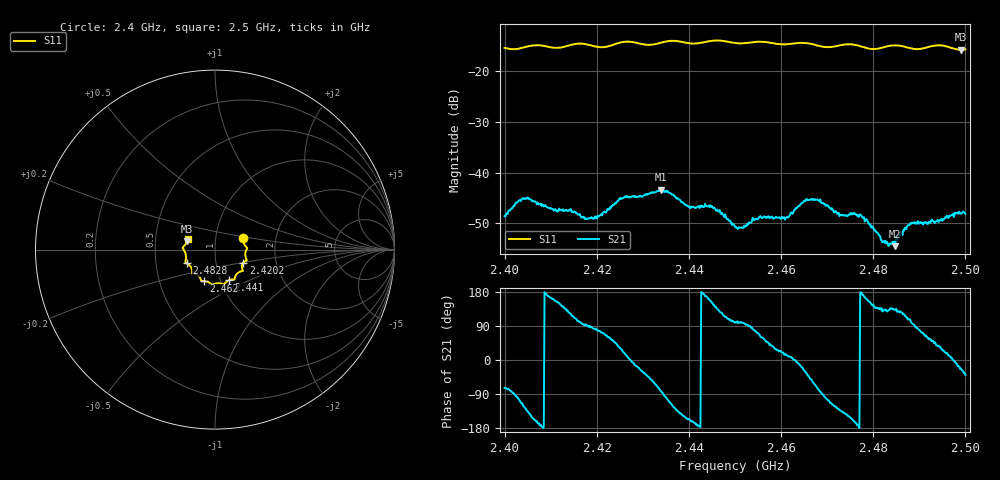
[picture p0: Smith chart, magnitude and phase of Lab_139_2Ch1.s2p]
# Hz S RI R 50
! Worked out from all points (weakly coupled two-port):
!   601 points, 2.4 GHz to 2.5 GHz, reference 50 ohm
!   highest |S21| = -43.31 dB at 2.434 GHz (marker M1); lowest = -54.5 dB at 2.4847 GHz (marker M2)
!   lowest |S11| = -15.8 dB at 2.499 GHz (marker M3), VSWR 1.39, Z = 36.4 + j3.54 ohm
!   |S11| at or under -10 dB: start of sweep to end of sweep
!   S12 and S22 are empty: the file has one direction only
!   S11 on the Smith chart (normalised r, x): 2.4 GHz: 1.36, +0.17; 2.4202 GHz: 1.36, -0.20; 2.441 GHz: 1.10, -0.39; 2.462 GHz: 0.84, -0.30; 2.4828 GHz: 0.72, -0.11; 2.5 GHz: 0.73, +0.09
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2.4e9  0.1581 0.062  0.00107 -0.00358  0 0  0 0
2.4045e9  0.1722 0.0167  -0.00344 -0.00443  0 0  0 0
2.416667e9  0.1768 -0.0605  -0.000498 0.00357  0 0  0 0
2.420167e9  0.1579 -0.072  0.000774 0.00367  0 0  0 0
2.425333e9  0.1549 -0.1149  0.00495 0.00268  0 0  0 0
2.433333e9  0.1119 -0.151  0.00203 -0.00625  0 0  0 0
2.434e9  0.1107 -0.1565  0.000865 -0.00678  0 0  0 0
2.441e9  0.078 -0.1701  -0.00444 -0.00122  0 0  0 0
2.445167e9  0.0518 -0.1931  -0.00385 0.00237  0 0  0 0
2.45e9  0.0278 -0.1876  -0.000519 0.00287  0 0  0 0
2.462e9  -0.0608 -0.1758  0.00384 0.000597  0 0  0 0
2.465167e9  -0.0765 -0.1738  0.00458 -0.00265  0 0  0 0
2.466667e9  -0.0788 -0.1677  0.00331 -0.00441  0 0  0 0
2.472667e9  -0.1183 -0.135  -0.00248 -0.00279  0 0  0 0
2.4775e9  -0.1273 -0.1196  -0.00372 0.000235  0 0  0 0
2.482833e9  -0.1571 -0.0767  -0.00133 0.00152  0 0  0 0
2.483333e9  -0.1604 -0.0754  -0.00126 0.00142  0 0  0 0
2.484667e9  -0.1648 -0.0722  -0.00129 0.00138  0 0  0 0
2.488167e9  -0.1614 -0.0467  -0.000617 0.00307  0 0  0 0
2.494333e9  -0.1798 0.0101  0.00277 0.00191  0 0  0 0
2.499e9  -0.1556 0.0473  0.00366 -0.00151  0 0  0 0
2.5e9  -0.1524 0.0613  0.00305 -0.00249  0 0  0 0
